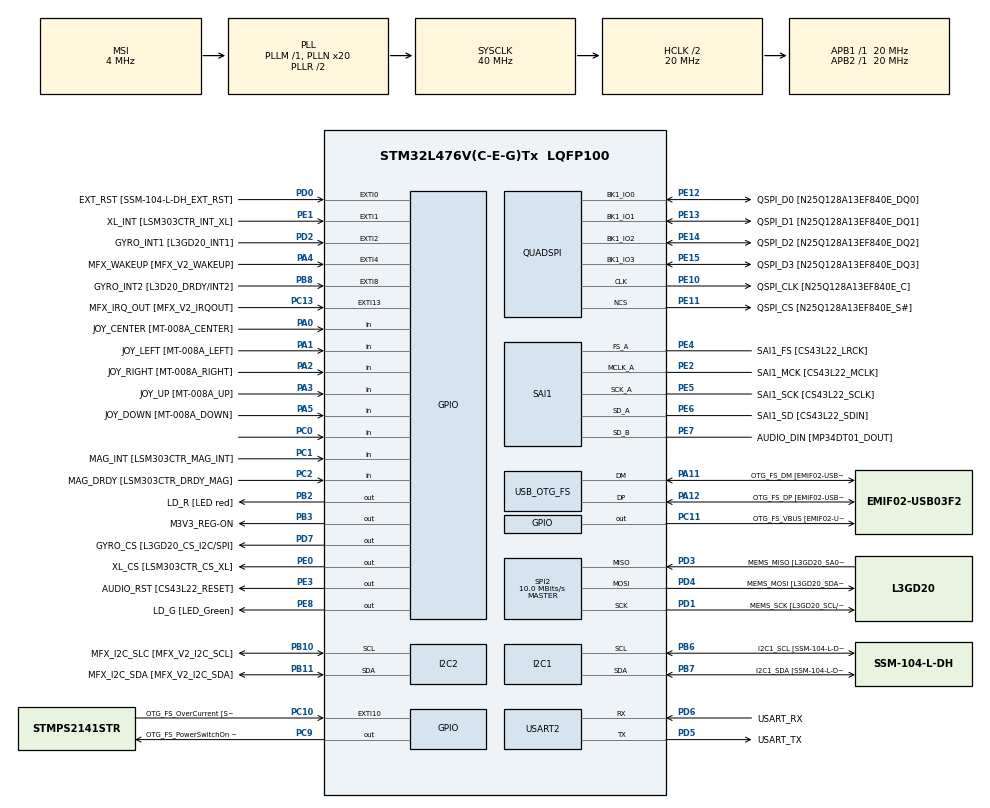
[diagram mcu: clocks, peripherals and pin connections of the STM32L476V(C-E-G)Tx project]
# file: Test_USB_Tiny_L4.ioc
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I2C1.Timing=0x00404C74
I2C2.Timing=0x00404C74
Mcu.Family=STM32L4
Mcu.Name=STM32L476V(C-E-G)Tx
Mcu.Package=LQFP100
NVIC.OTG_FS_IRQn=true\:0\:0\:false\:false\:true\:true\:true\:true
NVIC.PriorityGroup=NVIC_PRIORITYGROUP_4
PA0.GPIO_Label=JOY_CENTER [MT-008A_CENTER]
PA0.GPIO_Mode=GPIO_MODE_INPUT
PA0.GPIO_PuPd=GPIO_PULLDOWN
PA0.Signal=GPIO_Input
PA1.GPIO_Label=JOY_LEFT [MT-008A_LEFT]
PA1.GPIO_Mode=GPIO_MODE_INPUT
PA1.GPIO_PuPd=GPIO_PULLDOWN
PA1.Signal=GPIO_Input
PA10.GPIO_Label=COM2 [GH08172T_COM2]
PA10.GPIO_Mode=GPIO_MODE_AF_PP
PA10.GPIO_PuPd=GPIO_NOPULL
PA10.GPIO_Speed=GPIO_SPEED_FREQ_LOW
PA10.Signal=LCD_COM2
PA11.GPIO_Label=OTG_FS_DM [EMIF02-USB03F2_D-out]
PA11.GPIO_Mode=GPIO_MODE_AF_PP
PA11.GPIO_PuPd=GPIO_NOPULL
PA11.GPIO_Speed=GPIO_SPEED_FREQ_VERY_HIGH
PA11.Mode=Device_Only
PA11.Signal=USB_OTG_FS_DM
PA12.GPIO_Label=OTG_FS_DP [EMIF02-USB03F2_D+out]
PA12.GPIO_Mode=GPIO_MODE_AF_PP
PA12.GPIO_PuPd=GPIO_NOPULL
PA12.GPIO_Speed=GPIO_SPEED_FREQ_VERY_HIGH
PA12.Mode=Device_Only
PA12.Signal=USB_OTG_FS_DP
PA13\ (JTMS-SWDIO).GPIO_Label=SWDIO
PA13\ (JTMS-SWDIO).Mode=Serial_Wire
PA13\ (JTMS-SWDIO).Signal=SYS_JTMS-SWDIO
PA14\ (JTCK-SWCLK).GPIO_Label=SWCLK
PA14\ (JTCK-SWCLK).Mode=Serial_Wire
PA14\ (JTCK-SWCLK).Signal=SYS_JTCK-SWCLK
PA15\ (JTDI).GPIO_Label=SEG10 [GH08172T_SEG10]
PA15\ (JTDI).GPIO_Mode=GPIO_MODE_AF_PP
PA15\ (JTDI).GPIO_PuPd=GPIO_NOPULL
PA15\ (JTDI).GPIO_Speed=GPIO_SPEED_FREQ_LOW
PA15\ (JTDI).Signal=LCD_SEG17
PA2.GPIO_Label=JOY_RIGHT [MT-008A_RIGHT]
PA2.GPIO_Mode=GPIO_MODE_INPUT
PA2.GPIO_PuPd=GPIO_PULLDOWN
PA2.Signal=GPIO_Input
PA3.GPIO_Label=JOY_UP [MT-008A_UP]
PA3.GPIO_Mode=GPIO_MODE_INPUT
PA3.GPIO_PuPd=GPIO_PULLDOWN
PA3.Signal=GPIO_Input
PA4.GPIO_Label=MFX_WAKEUP [MFX_V2_WAKEUP]
PA4.GPIO_ModeDefaultEXTI=GPIO_MODE_EVT_RISING
PA4.GPIO_PuPd=GPIO_NOPULL
PA4.Signal=GPXTI4
PA5.GPIO_Label=JOY_DOWN [MT-008A_DOWN]
PA5.GPIO_Mode=GPIO_MODE_INPUT
PA5.GPIO_PuPd=GPIO_PULLDOWN
PA5.Signal=GPIO_Input
PA6.GPIO_Label=SEG23 [GH08172T_SEG23]
PA6.GPIO_Mode=GPIO_MODE_AF_PP
PA6.GPIO_PuPd=GPIO_NOPULL
PA6.GPIO_Speed=GPIO_SPEED_FREQ_LOW
PA6.Signal=LCD_SEG3
PA7.GPIO_Label=SEG0 [GH08172T_SEG0]
PA7.GPIO_Mode=GPIO_MODE_AF_PP
PA7.GPIO_PuPd=GPIO_NOPULL
PA7.GPIO_Speed=GPIO_SPEED_FREQ_LOW
PA7.Signal=LCD_SEG4
PA8.GPIO_Label=COM0 [GH08172T_COM0]
PA8.GPIO_Mode=GPIO_MODE_AF_PP
PA8.GPIO_PuPd=GPIO_NOPULL
PA8.GPIO_Speed=GPIO_SPEED_FREQ_LOW
PA8.Signal=LCD_COM0
PA9.GPIO_Label=COM1 [GH08172T_COM1]
PA9.GPIO_Mode=GPIO_MODE_AF_PP
PA9.GPIO_PuPd=GPIO_NOPULL
PA9.GPIO_Speed=GPIO_SPEED_FREQ_LOW
PA9.Signal=LCD_COM1
PB0.GPIO_Label=SEG21 [GH08172T_SEG21]
PB0.GPIO_Mode=GPIO_MODE_AF_PP
PB0.GPIO_PuPd=GPIO_NOPULL
PB0.GPIO_Speed=GPIO_SPEED_FREQ_LOW
PB0.Signal=LCD_SEG5
PB1.GPIO_Label=SEG2 [GH08172T_SEG2]
PB1.GPIO_Mode=GPIO_MODE_AF_PP
PB1.GPIO_PuPd=GPIO_NOPULL
PB1.GPIO_Speed=GPIO_SPEED_FREQ_LOW
PB1.Signal=LCD_SEG6
PB10.GPIO_Label=MFX_I2C_SLC [MFX_V2_I2C_SCL]
PB10.GPIO_Mode=GPIO_MODE_AF_OD
PB10.GPIO_Pu=GPIO_PULLUP
PB10.GPIO_Speed=GPIO_SPEED_FREQ_VERY_HIGH
PB10.Mode=I2C
PB10.Signal=I2C2_SCL
PB11.GPIO_Label=MFX_I2C_SDA [MFX_V2_I2C_SDA]
PB11.GPIO_Mode=GPIO_MODE_AF_OD
PB11.GPIO_Pu=GPIO_PULLUP
PB11.GPIO_Speed=GPIO_SPEED_FREQ_VERY_HIGH
PB11.Mode=I2C
PB11.Signal=I2C2_SDA
PB12.GPIO_Label=SEG20 [GH08172T_SEG20]
PB12.GPIO_Mode=GPIO_MODE_AF_PP
PB12.GPIO_PuPd=GPIO_NOPULL
PB12.GPIO_Speed=GPIO_SPEED_FREQ_LOW
PB12.Signal=LCD_SEG12
PB13.GPIO_Label=SEG3 [GH08172T_SEG3]
PB13.GPIO_Mode=GPIO_MODE_AF_PP
PB13.GPIO_PuPd=GPIO_NOPULL
PB13.GPIO_Speed=GPIO_SPEED_FREQ_LOW
PB13.Signal=LCD_SEG13
PB14.GPIO_Label=SEG19 [GH08172T_SEG19]
PB14.GPIO_Mode=GPIO_MODE_AF_PP
PB14.GPIO_PuPd=GPIO_NOPULL
PB14.GPIO_Speed=GPIO_SPEED_FREQ_LOW
PB14.Signal=LCD_SEG14
PB15.GPIO_Label=SEG4 [GH08172T_SEG4]
PB15.GPIO_Mode=GPIO_MODE_AF_PP
PB15.GPIO_PuPd=GPIO_NOPULL
PB15.GPIO_Speed=GPIO_SPEED_FREQ_LOW
PB15.Signal=LCD_SEG15
PB2.GPIO_Label=LD_R [LED red]
PB2.GPIO_ModeDefaultOutputPP=GPIO_MODE_OUTPUT_PP
PB2.GPIO_PuPd=GPIO_PULLUP
PB2.GPIO_Speed=GPIO_SPEED_FREQ_VERY_HIGH
PB2.Signal=GPIO_Output
PB3\ (JTDO-TRACESWO).GPIO_Label=M3V3_REG-ON
PB3\ (JTDO-TRACESWO).GPIO_ModeDefaultOutputPP=GPIO_MODE_OUTPUT_PP
PB3\ (JTDO-TRACESWO).GPIO_PuPd=GPIO_NOPULL
PB3\ (JTDO-TRACESWO).GPIO_Speed=GPIO_SPEED_FREQ_LOW
PB3\ (JTDO-TRACESWO).Signal=GPIO_Output
PB4\ (NJTRST).GPIO_Label=SEG11 [GH08172T_SEG11]
PB4\ (NJTRST).GPIO_Mode=GPIO_MODE_AF_PP
PB4\ (NJTRST).GPIO_PuPd=GPIO_NOPULL
PB4\ (NJTRST).GPIO_Speed=GPIO_SPEED_FREQ_LOW
PB4\ (NJTRST).Signal=LCD_SEG8
PB5.GPIO_Label=SEG12 [GH08172T_SEG12]
PB5.GPIO_Mode=GPIO_MODE_AF_PP
PB5.GPIO_PuPd=GPIO_NOPULL
PB5.GPIO_Speed=GPIO_SPEED_FREQ_LOW
PB5.Signal=LCD_SEG9
PB6.GPIO_FM6=__NULL
PB6.GPIO_Label=I2C1_SCL [SSM-104-L-DH_SCL]
PB6.GPIO_Mode=GPIO_MODE_AF_OD
PB6.GPIO_Pu=GPIO_PULLUP
PB6.GPIO_Speed=GPIO_SPEED_FREQ_VERY_HIGH
PB6.Mode=I2C
PB6.Signal=I2C1_SCL
PB7.GPIO_FM7=__NULL
PB7.GPIO_Label=I2C1_SDA [SSM-104-L-DH_SDA]
PB7.GPIO_Mode=GPIO_MODE_AF_OD
PB7.GPIO_Pu=GPIO_PULLUP
PB7.GPIO_Speed=GPIO_SPEED_FREQ_VERY_HIGH
PB7.Mode=I2C
PB7.Signal=I2C1_SDA
PB8.GPIO_Label=GYRO_INT2 [L3D20_DRDY/INT2]
PB8.GPIO_ModeDefaultEXTI=GPIO_MODE_EVT_RISING
PB8.GPIO_PuPd=GPIO_NOPULL
PB8.Signal=GPXTI8
PB9.GPIO_FM9=__NULL
PB9.GPIO_Label=COM3 [GH08172T_COM3]
PB9.GPIO_Mode=GPIO_MODE_AF_PP
PB9.GPIO_PuPd=GPIO_NOPULL
PB9.GPIO_Speed=GPIO_SPEED_FREQ_LOW
PB9.Signal=LCD_COM3
PC0.Signal=GPIO_Input
PC1.GPIO_Label=MAG_INT [LSM303CTR_MAG_INT]
PC1.GPIO_Mode=GPIO_MODE_INPUT
PC1.GPIO_PuPd=GPIO_NOPULL
PC1.Signal=GPIO_Input
PC10.GPIO_Label=OTG_FS_OverCurrent [STMPS2141STR_FAULT]
PC10.GPIO_ModeDefaultEXTI=GPIO_MODE_EVT_RISING
PC10.GPIO_PuPd=GPIO_NOPULL
PC10.Signal=GPXTI10
PC11.GPIO_Label=OTG_FS_VBUS [EMIF02-USB03F2_Vbus]
PC11.GPIO_ModeDefaultOutputPP=GPIO_MODE_OUTPUT_PP
PC11.GPIO_PuPd=GPIO_NOPULL
PC11.GPIO_Speed=GPIO_SPEED_FREQ_LOW
PC11.Signal=GPIO_Output
PC13.GPIO_Label=MFX_IRQ_OUT [MFX_V2_IRQOUT]
PC13.GPIO_ModeDefaultEXTI=GPIO_MODE_EVT_RISING
PC13.GPIO_PuPd=GPIO_NOPULL
PC13.Signal=GPXTI13
PC14-OSC32_IN\ (PC14).Mode=LSE-External-Oscillator
PC14-OSC32_IN\ (PC14).Signal=RCC_OSC32_IN
PC15-OSC32_OUT\ (PC15).Mode=LSE-External-Oscillator
PC15-OSC32_OUT\ (PC15).Signal=RCC_OSC32_OUT
PC2.GPIO_Label=MAG_DRDY [LSM303CTR_DRDY_MAG]
PC2.GPIO_Mode=GPIO_MODE_INPUT
PC2.GPIO_PuPd=GPIO_NOPULL
PC2.Signal=GPIO_Input
PC3.GPIO_Label=VLCD
PC3.GPIO_Mode=GPIO_MODE_AF_PP
PC3.GPIO_PuPd=GPIO_NOPULL
PC3.GPIO_Speed=GPIO_SPEED_FREQ_LOW
PC3.Signal=LCD_VLCD
PC4.GPIO_Label=SEG22 [GH08172T_SEG22]
PC4.GPIO_Mode=GPIO_MODE_AF_PP
PC4.GPIO_PuPd=GPIO_NOPULL
PC4.GPIO_Speed=GPIO_SPEED_FREQ_LOW
PC4.Signal=LCD_SEG22
PC5.GPIO_Label=SEG1 [GH08172T_SEG1]
PC5.GPIO_Mode=GPIO_MODE_AF_PP
PC5.GPIO_PuPd=GPIO_NOPULL
PC5.GPIO_Speed=GPIO_SPEED_FREQ_LOW
PC5.Signal=LCD_SEG23
PC6.GPIO_Label=SEG14 [GH08172T_SEG14]
PC6.GPIO_Mode=GPIO_MODE_AF_PP
PC6.GPIO_PuPd=GPIO_NOPULL
PC6.GPIO_Speed=GPIO_SPEED_FREQ_LOW
PC6.Signal=LCD_SEG24
PC7.GPIO_Label=SEG9 [GH08172T_SEG9]
PC7.GPIO_Mode=GPIO_MODE_AF_PP
PC7.GPIO_PuPd=GPIO_NOPULL
PC7.GPIO_Speed=GPIO_SPEED_FREQ_LOW
PC7.Signal=LCD_SEG25
PC8.GPIO_Label=SEG13 [GH08172T_SEG13]
PC8.GPIO_Mode=GPIO_MODE_AF_PP
PC8.GPIO_PuPd=GPIO_NOPULL
PC8.GPIO_Speed=GPIO_SPEED_FREQ_LOW
PC8.Signal=LCD_SEG26
PC9.GPIO_Label=OTG_FS_PowerSwitchOn [STMPS2141STR_EN]
PC9.GPIO_ModeDefaultOutputPP=GPIO_MODE_OUTPUT_PP
PC9.GPIO_PuPd=GPIO_NOPULL
PC9.GPIO_Speed=GPIO_SPEED_FREQ_LOW
PC9.PinState=GPIO_PIN_SET
PC9.Signal=GPIO_Output
PD0.GPIO_Label=EXT_RST [SSM-104-L-DH_EXT_RST]
PD0.GPIO_ModeDefaultEXTI=GPIO_MODE_EVT_RISING
PD0.GPIO_PuPd=GPIO_NOPULL
PD0.Signal=GPXTI0
PD1.GPIO_Label=MEMS_SCK [L3GD20_SCL/SPC]
PD1.GPIO_Mode=GPIO_MODE_AF_PP
PD1.GPIO_PuPd=GPIO_NOPULL
PD1.GPIO_Speed=GPIO_SPEED_FREQ_VERY_HIGH
PD1.Mode=Full_Duplex_Master
PD1.Signal=SPI2_SCK
PD10.GPIO_Label=SEG17 [GH08172T_SEG17]
PD10.GPIO_Mode=GPIO_MODE_AF_PP
PD10.GPIO_PuPd=GPIO_NOPULL
PD10.GPIO_Speed=GPIO_SPEED_FREQ_LOW
PD10.Signal=LCD_SEG30
PD11.GPIO_Label=SEG6 [GH08172T_SEG6]
PD11.GPIO_Mode=GPIO_MODE_AF_PP
PD11.GPIO_PuPd=GPIO_NOPULL
PD11.GPIO_Speed=GPIO_SPEED_FREQ_LOW
PD11.Signal=LCD_SEG31
PD12.GPIO_Label=SEG16 [GH08172T_SEG16]
PD12.GPIO_Mode=GPIO_MODE_AF_PP
PD12.GPIO_PuPd=GPIO_NOPULL
PD12.GPIO_Speed=GPIO_SPEED_FREQ_LOW
PD12.Signal=LCD_SEG32
PD13.GPIO_Label=SEG7 [GH08172T_SEG7]
PD13.GPIO_Mode=GPIO_MODE_AF_PP
PD13.GPIO_PuPd=GPIO_NOPULL
PD13.GPIO_Speed=GPIO_SPEED_FREQ_LOW
PD13.Signal=LCD_SEG33
PD14.GPIO_Label=SEG15 [GH08172T_SEG15]
PD14.GPIO_Mode=GPIO_MODE_AF_PP
PD14.GPIO_PuPd=GPIO_NOPULL
PD14.GPIO_Speed=GPIO_SPEED_FREQ_LOW
PD14.Signal=LCD_SEG34
PD15.GPIO_Label=SEG8 [GH08172T_SEG8]
PD15.GPIO_Mode=GPIO_MODE_AF_PP
PD15.GPIO_PuPd=GPIO_NOPULL
PD15.GPIO_Speed=GPIO_SPEED_FREQ_LOW
PD15.Signal=LCD_SEG35
PD2.GPIO_Label=GYRO_INT1 [L3GD20_INT1]
PD2.GPIO_ModeDefaultEXTI=GPIO_MODE_EVT_RISING
PD2.GPIO_PuPd=GPIO_NOPULL
PD2.Signal=GPXTI2
PD3.GPIO_Label=MEMS_MISO [L3GD20_SA0/SDO]
PD3.GPIO_Mode=GPIO_MODE_AF_PP
PD3.GPIO_PuPd=GPIO_NOPULL
PD3.GPIO_Speed=GPIO_SPEED_FREQ_VERY_HIGH
PD3.Mode=Full_Duplex_Master
PD3.Signal=SPI2_MISO
PD4.GPIO_Label=MEMS_MOSI [L3GD20_SDA/SDI/SDO]
PD4.GPIO_Mode=GPIO_MODE_AF_PP
PD4.GPIO_PuPd=GPIO_NOPULL
PD4.GPIO_Speed=GPIO_SPEED_FREQ_VERY_HIGH
PD4.Mode=Full_Duplex_Master
PD4.Signal=SPI2_MOSI
PD5.GPIO_Label=USART_TX
PD5.GPIO_Mode=GPIO_MODE_AF_PP
PD5.GPIO_PuPd=GPIO_PULLUP
PD5.GPIO_Speed=GPIO_SPEED_FREQ_VERY_HIGH
PD5.Mode=Asynchronous
PD5.Signal=USART2_TX
PD6.GPIO_Label=USART_RX
PD6.GPIO_Mode=GPIO_MODE_AF_PP
PD6.GPIO_PuPd=GPIO_PULLUP
PD6.GPIO_Speed=GPIO_SPEED_FREQ_VERY_HIGH
PD6.Mode=Asynchronous
PD6.Signal=USART2_RX
PD7.GPIO_Label=GYRO_CS [L3GD20_CS_I2C/SPI]
PD7.GPIO_ModeDefaultOutputPP=GPIO_MODE_OUTPUT_PP
PD7.GPIO_PuPd=GPIO_NOPULL
PD7.GPIO_Speed=GPIO_SPEED_FREQ_VERY_HIGH
PD7.Signal=GPIO_Output
PD8.GPIO_Label=SEG18 [GH08172T_SEG18]
PD8.GPIO_Mode=GPIO_MODE_AF_PP
PD8.GPIO_PuPd=GPIO_NOPULL
PD8.GPIO_Speed=GPIO_SPEED_FREQ_LOW
PD8.Signal=LCD_SEG28
PD9.GPIO_Label=SEG5 [GH08172T_SEG5]
PD9.GPIO_Mode=GPIO_MODE_AF_PP
PD9.GPIO_PuPd=GPIO_NOPULL
PD9.GPIO_Speed=GPIO_SPEED_FREQ_LOW
PD9.Signal=LCD_SEG29
PE0.GPIO_Label=XL_CS [LSM303CTR_CS_XL]
PE0.GPIO_ModeDefaultOutputPP=GPIO_MODE_OUTPUT_PP
PE0.GPIO_PuPd=GPIO_NOPULL
PE0.GPIO_Speed=GPIO_SPEED_FREQ_LOW
PE0.Signal=GPIO_Output
PE1.GPIO_Label=XL_INT [LSM303CTR_INT_XL]
PE1.GPIO_ModeDefaultEXTI=GPIO_MODE_EVT_RISING
PE1.GPIO_PuPd=GPIO_NOPULL
PE1.Signal=GPXTI1
PE10.GPIO_Label=QSPI_CLK [N25Q128A13EF840E_C]
PE10.GPIO_Mode=GPIO_MODE_AF_PP
PE10.GPIO_PuPd=GPIO_NOPULL
PE10.GPIO_Speed=GPIO_SPEED_FREQ_VERY_HIGH
PE10.Mode=Single Bank
PE10.Signal=QUADSPI_CLK
PE11.GPIO_Label=QSPI_CS [N25Q128A13EF840E_S\#]
PE11.GPIO_Mode=GPIO_MODE_AF_PP
PE11.GPIO_PuPd=GPIO_NOPULL
PE11.GPIO_Speed=GPIO_SPEED_FREQ_VERY_HIGH
PE11.Mode=Single Bank
PE11.Signal=QUADSPI_NCS
PE12.GPIO_Label=QSPI_D0 [N25Q128A13EF840E_DQ0]
PE12.GPIO_Mode=GPIO_MODE_AF_PP
PE12.GPIO_PuPd=GPIO_NOPULL
PE12.GPIO_Speed=GPIO_SPEED_FREQ_VERY_HIGH
PE12.Mode=Single Bank
PE12.Signal=QUADSPI_BK1_IO0
PE13.GPIO_Label=QSPI_D1 [N25Q128A13EF840E_DQ1]
PE13.GPIO_Mode=GPIO_MODE_AF_PP
PE13.GPIO_PuPd=GPIO_NOPULL
PE13.GPIO_Speed=GPIO_SPEED_FREQ_VERY_HIGH
PE13.Mode=Single Bank
PE13.Signal=QUADSPI_BK1_IO1
PE14.GPIO_Label=QSPI_D2 [N25Q128A13EF840E_DQ2]
PE14.GPIO_Mode=GPIO_MODE_AF_PP
PE14.GPIO_PuPd=GPIO_NOPULL
PE14.GPIO_Speed=GPIO_SPEED_FREQ_VERY_HIGH
PE14.Mode=Single Bank
PE14.Signal=QUADSPI_BK1_IO2
PE15.GPIO_Label=QSPI_D3 [N25Q128A13EF840E_DQ3]
PE15.GPIO_Mode=GPIO_MODE_AF_PP
PE15.GPIO_PuPd=GPIO_NOPULL
PE15.GPIO_Speed=GPIO_SPEED_FREQ_VERY_HIGH
PE15.Mode=Single Bank
PE15.Signal=QUADSPI_BK1_IO3
PE2.GPIO_Label=SAI1_MCK [CS43L22_MCLK]
PE2.GPIO_Mode=GPIO_MODE_AF_PP
PE2.GPIO_PuPd=GPIO_NOPULL
PE2.GPIO_Speed=GPIO_SPEED_FREQ_VERY_HIGH
PE2.Mode=SAI_A_MasterWithClock
PE2.Signal=SAI1_MCLK_A
PE3.GPIO_Label=AUDIO_RST [CS43L22_RESET]
PE3.GPIO_ModeDefaultOutputPP=GPIO_MODE_OUTPUT_PP
PE3.GPIO_PuPd=GPIO_NOPULL
PE3.GPIO_Speed=GPIO_SPEED_FREQ_HIGH
PE3.Signal=GPIO_Output
PE4.GPIO_Label=SAI1_FS [CS43L22_LRCK]
PE4.GPIO_Mode=GPIO_MODE_AF_PP
PE4.GPIO_PuPd=GPIO_NOPULL
PE4.GPIO_Speed=GPIO_SPEED_FREQ_VERY_HIGH
PE4.Mode=SAI_A_MasterWithClock
PE4.Signal=SAI1_FS_A
PE5.GPIO_Label=SAI1_SCK [CS43L22_SCLK]
PE5.GPIO_Mode=GPIO_MODE_AF_PP
PE5.GPIO_PuPd=GPIO_NOPULL
PE5.GPIO_Speed=GPIO_SPEED_FREQ_VERY_HIGH
PE5.Mode=SAI_A_MasterWithClock
PE5.Signal=SAI1_SCK_A
PE6.GPIO_Label=SAI1_SD [CS43L22_SDIN]
PE6.GPIO_Mode=GPIO_MODE_AF_PP
PE6.GPIO_PuPd=GPIO_NOPULL
PE6.GPIO_Speed=GPIO_SPEED_FREQ_VERY_HIGH
PE6.Mode=SAI_A_MasterWithClock
PE6.Signal=SAI1_SD_A
PE7.GPIO_Label=AUDIO_DIN [MP34DT01_DOUT]
PE7.GPIO_Mode=GPIO_MODE_AF_PP
PE7.GPIO_PuPd=GPIO_NOPULL
PE7.GPIO_Speed=GPIO_SPEED_FREQ_VERY_HIGH
PE7.Mode=SAI_B_SyncSlave
PE7.Signal=SAI1_SD_B
PE8.GPIO_Label=LD_G [LED_Green]
PE8.GPIO_ModeDefaultOutputPP=GPIO_MODE_OUTPUT_PP
PE8.GPIO_PuPd=GPIO_PULLUP
PE8.GPIO_Speed=GPIO_SPEED_FREQ_VERY_HIGH
PE8.Signal=GPIO_Output
PE9.GPIO_Label=AUDIO_CLK [MP34DT01_CLK]
PE9.GPIO_Mode=GPIO_MODE_AF_PP
PE9.GPIO_PuPd=GPIO_NOPULL
PE9.GPIO_Speed=GPIO_SPEED_FREQ_LOW
PE9.Signal=SAI1_FS_B
PH0-OSC_IN\ (PH0).Mode=HSE-External-Oscillator
PH0-OSC_IN\ (PH0).Signal=RCC_OSC_IN
PH1-OSC_OUT\ (PH1).Mode=HSE-External-Oscillator
PH1-OSC_OUT\ (PH1).Signal=RCC_OSC_OUT
ProjectManager.HeapSize=0x200
ProjectManager.StackSize=0x400
ProjectManager.TargetToolchain=STM32CubeIDE
QUADSPI.ClockPrescaler=1
QUADSPI.FifoThreshold=4
QUADSPI.FlashSize=24
QUADSPI.SampleShifting=QSPI_SAMPLE_SHIFTING_HALFCYCLE
RCC.ADCFreq_Value=48000000
RCC.AHBCLKDivider=RCC_SYSCLK_DIV2
RCC.AHBFreq_Value=20000000
RCC.APB1Freq_Value=20000000
RCC.APB1TimFreq_Value=20000000
RCC.APB2Freq_Value=20000000
RCC.APB2TimFreq_Value=20000000
RCC.CortexFreq_Value=20000000
RCC.HCLKFreq_Value=20000000
RCC.HSE_VALUE=8000000
RCC.HSI_VALUE=16000000
RCC.MSI_VALUE=4000000
RCC.PLLN=20
RCC.PLLSAI1N=24
RCC.PREFETCH_ENABLE=1
RCC.SYSCLKFreq_VALUE=40000000
RCC.SYSCLKSource=RCC_SYSCLKSOURCE_PLLCLK
RCC.USBFreq_Value=48000000
RCC.VCOOutputFreq_Value=80000000
SAI1.Instance-SAI_A_MasterWithClock=SAI$Index_Block_A
SAI1.Instance-SAI_B_SyncSlave=SAI$Index_Block_B
SAI1.MClockEnable-SAI_A_MasterWithClock=SAI_MASTERCLOCK_ENABLE
SAI1.Synchro-SAI_B_SyncSlave=SAI_SYNCHRONOUS
SAI1.VirtualMode-SAI_A_MasterWithClock=VM_MASTER
SAI1.VirtualMode-SAI_B_SyncSlave=VM_SLAVE
SPI2.CalculateBaudRate=10.0 MBits/s
SPI2.Direction=SPI_DIRECTION_2LINES
SPI2.Mode=SPI_MODE_MASTER
SPI2.VirtualType=VM_MASTER
USART2.VirtualMode-Asynchronous=VM_ASYNC
USB_OTG_FS.VirtualMode=Device_Only
board=STM32L476G-DISCO

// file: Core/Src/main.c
/* USER CODE BEGIN Header */
/**
  ******************************************************************************
  * @file           : main.c
  * @brief          : Main program body
  ******************************************************************************
  * @attention
  *
  * Copyright (c) 2022 STMicroelectronics.
  * All rights reserved.
  *
  * This software is licensed under terms that can be found in the LICENSE file
  * in the root directory of this software component.
  * If no LICENSE file comes with this software, it is provided AS-IS.
  *
  ******************************************************************************
  */
/* USER CODE END Header */
#include "main.h"
#include "i2c.h"
#include "quadspi.h"
#include "sai.h"
#include "spi.h"
#include "usart.h"
#include "usb_otg.h"
#include "gpio.h"

/* USER CODE BEGIN Includes */
#include "tusb.h"
/* USER CODE END Includes */

/* USER CODE BEGIN PTD */
/* Blink pattern
 * - 250 ms  : device not mounted
 * - 1000 ms : device mounted
 * - 2500 ms : device is suspended
 */
enum  {
  BLINK_NOT_MOUNTED = 250,
  BLINK_MOUNTED = 1000,
  BLINK_SUSPENDED = 2500,
};
/* USER CODE END PTD */

void SystemClock_Config(void);
void PeriphCommonClock_Config(void);
/* USER CODE BEGIN PFP */
static uint32_t blink_interval_ms = BLINK_NOT_MOUNTED;

void led_blinking_task(void);
/* USER CODE END PFP */

int main(void)
{

  /* MCU Configuration--------------------------------------------------------*/

  /* Reset of all peripherals, Initializes the Flash interface and the Systick. */
  HAL_Init();

  /* Configure the system clock */
  SystemClock_Config();

/* Configure the peripherals common clocks */
  PeriphCommonClock_Config();

  /* Initialize all configured peripherals */
  MX_GPIO_Init();
  MX_I2C1_Init();
  MX_I2C2_Init();
  MX_QUADSPI_Init();
  MX_SAI1_Init();
  MX_SPI2_Init();
  MX_USART2_UART_Init();
  MX_USB_OTG_FS_PCD_Init();
  /* USER CODE BEGIN 2 */
  tusb_init();
  /* USER CODE END 2 */

  /* Infinite loop */
  /* USER CODE BEGIN WHILE */
  while (1)
  {

	  tud_task();

	  led_blinking_task();

    /* USER CODE END WHILE */

  }
}

void SystemClock_Config(void)
{
  RCC_OscInitTypeDef RCC_OscInitStruct = {0};
  RCC_ClkInitTypeDef RCC_ClkInitStruct = {0};

  /** Configure the main internal regulator output voltage
  */
  if (HAL_PWREx_ControlVoltageScaling(PWR_REGULATOR_VOLTAGE_SCALE1) != HAL_OK)
  {
    Error_Handler();
  }

  /** Configure LSE Drive Capability
  */
  HAL_PWR_EnableBkUpAccess();
  __HAL_RCC_LSEDRIVE_CONFIG(RCC_LSEDRIVE_LOW);

  /** Initializes the RCC Oscillators according to the specified parameters
  * in the RCC_OscInitTypeDef structure.
  */
  RCC_OscInitStruct.OscillatorType = RCC_OSCILLATORTYPE_LSE|RCC_OSCILLATORTYPE_MSI;
  RCC_OscInitStruct.LSEState = RCC_LSE_ON;
  RCC_OscInitStruct.MSIState = RCC_MSI_ON;
  RCC_OscInitStruct.MSICalibrationValue = 0;
  RCC_OscInitStruct.MSIClockRange = RCC_MSIRANGE_6;
  RCC_OscInitStruct.PLL.PLLState = RCC_PLL_ON;
  RCC_OscInitStruct.PLL.PLLSource = RCC_PLLSOURCE_MSI;
  RCC_OscInitStruct.PLL.PLLM = 1;
  RCC_OscInitStruct.PLL.PLLN = 20;
  RCC_OscInitStruct.PLL.PLLP = RCC_PLLP_DIV7;
  RCC_OscInitStruct.PLL.PLLQ = RCC_PLLQ_DIV2;
  RCC_OscInitStruct.PLL.PLLR = RCC_PLLR_DIV2;
  if (HAL_RCC_OscConfig(&RCC_OscInitStruct) != HAL_OK)
  {
    Error_Handler();
  }

  /** Initializes the CPU, AHB and APB buses clocks
  */
  RCC_ClkInitStruct.ClockType = RCC_CLOCKTYPE_HCLK|RCC_CLOCKTYPE_SYSCLK
                              |RCC_CLOCKTYPE_PCLK1|RCC_CLOCKTYPE_PCLK2;
  RCC_ClkInitStruct.SYSCLKSource = RCC_SYSCLKSOURCE_PLLCLK;
  RCC_ClkInitStruct.AHBCLKDivider = RCC_SYSCLK_DIV2;
  RCC_ClkInitStruct.APB1CLKDivider = RCC_HCLK_DIV1;
  RCC_ClkInitStruct.APB2CLKDivider = RCC_HCLK_DIV1;

  if (HAL_RCC_ClockConfig(&RCC_ClkInitStruct, FLASH_LATENCY_1) != HAL_OK)
  {
    Error_Handler();
  }

  /** Enable MSI Auto calibration
  */
  HAL_RCCEx_EnableMSIPLLMode();
}

void PeriphCommonClock_Config(void)
{
  RCC_PeriphCLKInitTypeDef PeriphClkInit = {0};

  /** Initializes the peripherals clock
  */
  PeriphClkInit.PeriphClockSelection = RCC_PERIPHCLK_SAI1|RCC_PERIPHCLK_USB;
  PeriphClkInit.Sai1ClockSelection = RCC_SAI1CLKSOURCE_PLLSAI1;
  PeriphClkInit.UsbClockSelection = RCC_USBCLKSOURCE_PLLSAI1;
  PeriphClkInit.PLLSAI1.PLLSAI1Source = RCC_PLLSOURCE_MSI;
  PeriphClkInit.PLLSAI1.PLLSAI1M = 1;
  PeriphClkInit.PLLSAI1.PLLSAI1N = 24;
  PeriphClkInit.PLLSAI1.PLLSAI1P = RCC_PLLP_DIV7;
  PeriphClkInit.PLLSAI1.PLLSAI1Q = RCC_PLLQ_DIV2;
  PeriphClkInit.PLLSAI1.PLLSAI1R = RCC_PLLR_DIV2;
  PeriphClkInit.PLLSAI1.PLLSAI1ClockOut = RCC_PLLSAI1_SAI1CLK|RCC_PLLSAI1_48M2CLK;
  if (HAL_RCCEx_PeriphCLKConfig(&PeriphClkInit) != HAL_OK)
  {
    Error_Handler();
  }
}

/* USER CODE BEGIN 4 */

// Invoked when device is mounted
void tud_mount_cb(void)
{
  blink_interval_ms = BLINK_MOUNTED;
}

// Invoked when device is unmounted
void tud_umount_cb(void)
{
  blink_interval_ms = BLINK_NOT_MOUNTED;
}

// Invoked when usb bus is suspended
// remote_wakeup_en : if host allow us  to perform remote wakeup
// Within 7ms, device must draw an average of current less than 2.5 mA from bus
void tud_suspend_cb(bool remote_wakeup_en)
{
  (void) remote_wakeup_en;
  blink_interval_ms = BLINK_SUSPENDED;
}

// Invoked when usb bus is resumed
void tud_resume_cb(void)
{
  blink_interval_ms = BLINK_MOUNTED;
}

//--------------------------------------------------------------------+
// USB CDC
//--------------------------------------------------------------------+

// Invoked when cdc when line state changed e.g connected/disconnected
void tud_cdc_line_state_cb(uint8_t itf, bool dtr, bool rts)
{
  (void) itf;
  (void) rts;

  // TODO set some indicator
  if ( dtr )
  {
    // Terminal connected
  }else
  {
    // Terminal disconnected
  }
}

// Invoked when CDC interface received data from host
void tud_cdc_rx_cb(uint8_t itf)
{
  (void) itf;
}

//--------------------------------------------------------------------+
// BLINKING TASK
//--------------------------------------------------------------------+
void led_blinking_task(void)
{
  static uint32_t start_ms = 0;
  static bool led_state = false;

  // Blink every interval ms
  if ( HAL_GetTick() - start_ms < blink_interval_ms) return; // not enough time
  start_ms += blink_interval_ms;

  HAL_GPIO_WritePin(LD_G_GPIO_Port, LD_G_Pin, led_state);
  led_state = 1 - led_state; // toggle
}
/* USER CODE END 4 */

void Error_Handler(void)
{
  __disable_irq();
  while (1)
  {
  }
}
